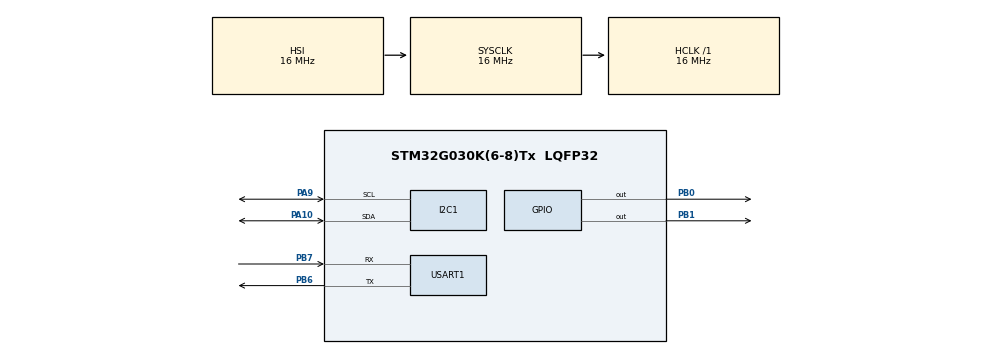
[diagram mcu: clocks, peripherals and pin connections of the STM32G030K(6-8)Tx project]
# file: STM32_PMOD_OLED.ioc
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I2C1.Timing=0x00503D58
Mcu.Family=STM32G0
Mcu.Name=STM32G030K(6-8)Tx
Mcu.Package=LQFP32
PA10.Mode=I2C
PA10.Signal=I2C1_SDA
PA13.Mode=Serial_Wire
PA13.Signal=SYS_SWDIO
PA14-BOOT0.Mode=Serial_Wire
PA14-BOOT0.Signal=SYS_SWCLK
PA9.Mode=I2C
PA9.Signal=I2C1_SCL
PB0.Signal=GPIO_Output
PB1.Signal=GPIO_Output
PB6.Mode=Asynchronous
PB6.Signal=USART1_TX
PB7.Mode=Asynchronous
PB7.Signal=USART1_RX
ProjectManager.HeapSize=0x200
ProjectManager.StackSize=0x400
ProjectManager.TargetToolchain=STM32CubeIDE
RCC.AHBFreq_Value=16000000
RCC.CortexFreq_Value=16000000
RCC.EXTERNAL_CLOCK_VALUE=12288000
RCC.HCLKFreq_Value=16000000
RCC.HSE_VALUE=8000000
RCC.HSI_VALUE=16000000
RCC.LSE_VALUE=32768
RCC.SYSCLKFreq_VALUE=16000000
RCC.VCOOutputFreq_Value=128000000
USART1.VirtualMode-Asynchronous=VM_ASYNC
board=custom

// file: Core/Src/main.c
/* USER CODE BEGIN Header */
/**
  ******************************************************************************
  * @file           : main.c
  * @brief          : Main program body
  ******************************************************************************
  * @attention
  *
  * Copyright (c) 2025 STMicroelectronics.
  * All rights reserved.
  *
  * This software is licensed under terms that can be found in the LICENSE file
  * in the root directory of this software component.
  * If no LICENSE file comes with this software, it is provided AS-IS.
  *
  ******************************************************************************
  */
/* USER CODE END Header */
#include "main.h"

/* USER CODE BEGIN Includes */
#include "ssd1306.h"	// SSD1306 I2C Display Driver
/* USER CODE END Includes */

I2C_HandleTypeDef hi2c1;

UART_HandleTypeDef huart1;

/* USER CODE BEGIN PV */
uint8_t rx_buffer[64];  // UART Byte Buffer
char text_buffer[64];   // Accumulate message
uint8_t idx = 0;
/* USER CODE END PV */

void SystemClock_Config(void);
static void MX_GPIO_Init(void);
static void MX_USART1_UART_Init(void);
static void MX_I2C1_Init(void);

int main(void)
{

  /* MCU Configuration--------------------------------------------------------*/

  /* Reset of all peripherals, Initializes the Flash interface and the Systick. */
  HAL_Init();

  /* Configure the system clock */
  SystemClock_Config();

  /* Initialize all configured peripherals */
  MX_GPIO_Init();
  MX_USART1_UART_Init();
  MX_I2C1_Init();
  /* USER CODE BEGIN 2 */
  HAL_NVIC_SetPriority(USART1_IRQn, 0, 0);
  HAL_NVIC_EnableIRQ(USART1_IRQn);

  HAL_UART_Receive_IT(&huart1, rx_buffer, 1); // Start receiving over interrupt

  ssd1306_init(&hi2c1);
  ssd1306_fill(0x00);  // Clear screen
  ssd1306_draw_string(0, 0, "Starting OLED...");
  ssd1306_update();
  /* USER CODE END 2 */

  /* Infinite loop */
  /* USER CODE BEGIN WHILE */
  while (1)
  {
	  HAL_GPIO_WritePin(GPIOB, GPIO_PIN_1, GPIO_PIN_SET);
	  HAL_Delay(100);
	  HAL_GPIO_WritePin(GPIOB, GPIO_PIN_1, GPIO_PIN_RESET);
	  HAL_Delay(900);
    /* USER CODE END WHILE */

  }
}

void SystemClock_Config(void)
{
  RCC_OscInitTypeDef RCC_OscInitStruct = {0};
  RCC_ClkInitTypeDef RCC_ClkInitStruct = {0};

  /** Configure the main internal regulator output voltage
  */
  HAL_PWREx_ControlVoltageScaling(PWR_REGULATOR_VOLTAGE_SCALE1);

  /** Initializes the RCC Oscillators according to the specified parameters
  * in the RCC_OscInitTypeDef structure.
  */
  RCC_OscInitStruct.OscillatorType = RCC_OSCILLATORTYPE_HSI;
  RCC_OscInitStruct.HSIState = RCC_HSI_ON;
  RCC_OscInitStruct.HSIDiv = RCC_HSI_DIV1;
  RCC_OscInitStruct.HSICalibrationValue = RCC_HSICALIBRATION_DEFAULT;
  RCC_OscInitStruct.PLL.PLLState = RCC_PLL_NONE;
  if (HAL_RCC_OscConfig(&RCC_OscInitStruct) != HAL_OK)
  {
    Error_Handler();
  }

  /** Initializes the CPU, AHB and APB buses clocks
  */
  RCC_ClkInitStruct.ClockType = RCC_CLOCKTYPE_HCLK|RCC_CLOCKTYPE_SYSCLK
                              |RCC_CLOCKTYPE_PCLK1;
  RCC_ClkInitStruct.SYSCLKSource = RCC_SYSCLKSOURCE_HSI;
  RCC_ClkInitStruct.AHBCLKDivider = RCC_SYSCLK_DIV1;
  RCC_ClkInitStruct.APB1CLKDivider = RCC_HCLK_DIV1;

  if (HAL_RCC_ClockConfig(&RCC_ClkInitStruct, FLASH_LATENCY_0) != HAL_OK)
  {
    Error_Handler();
  }
}

static void MX_I2C1_Init(void)
{

  hi2c1.Instance = I2C1;
  hi2c1.Init.Timing = 0x00503D58;
  hi2c1.Init.OwnAddress1 = 0;
  hi2c1.Init.AddressingMode = I2C_ADDRESSINGMODE_7BIT;
  hi2c1.Init.DualAddressMode = I2C_DUALADDRESS_DISABLE;
  hi2c1.Init.OwnAddress2 = 0;
  hi2c1.Init.OwnAddress2Masks = I2C_OA2_NOMASK;
  hi2c1.Init.GeneralCallMode = I2C_GENERALCALL_DISABLE;
  hi2c1.Init.NoStretchMode = I2C_NOSTRETCH_DISABLE;
  if (HAL_I2C_Init(&hi2c1) != HAL_OK)
  {
    Error_Handler();
  }

  /** Configure Analogue filter
  */
  if (HAL_I2CEx_ConfigAnalogFilter(&hi2c1, I2C_ANALOGFILTER_ENABLE) != HAL_OK)
  {
    Error_Handler();
  }

  /** Configure Digital filter
  */
  if (HAL_I2CEx_ConfigDigitalFilter(&hi2c1, 0) != HAL_OK)
  {
    Error_Handler();
  }

}

static void MX_USART1_UART_Init(void)
{

  huart1.Instance = USART1;
  huart1.Init.BaudRate = 115200;
  huart1.Init.WordLength = UART_WORDLENGTH_8B;
  huart1.Init.StopBits = UART_STOPBITS_1;
  huart1.Init.Parity = UART_PARITY_NONE;
  huart1.Init.Mode = UART_MODE_TX_RX;
  huart1.Init.HwFlowCtl = UART_HWCONTROL_NONE;
  huart1.Init.OverSampling = UART_OVERSAMPLING_16;
  huart1.Init.OneBitSampling = UART_ONE_BIT_SAMPLE_DISABLE;
  huart1.Init.ClockPrescaler = UART_PRESCALER_DIV1;
  huart1.AdvancedInit.AdvFeatureInit = UART_ADVFEATURE_NO_INIT;
  if (HAL_UART_Init(&huart1) != HAL_OK)
  {
    Error_Handler();
  }
  if (HAL_UARTEx_SetTxFifoThreshold(&huart1, UART_TXFIFO_THRESHOLD_1_8) != HAL_OK)
  {
    Error_Handler();
  }
  if (HAL_UARTEx_SetRxFifoThreshold(&huart1, UART_RXFIFO_THRESHOLD_1_8) != HAL_OK)
  {
    Error_Handler();
  }
  if (HAL_UARTEx_DisableFifoMode(&huart1) != HAL_OK)
  {
    Error_Handler();
  }

}

static void MX_GPIO_Init(void)
{
  GPIO_InitTypeDef GPIO_InitStruct = {0};

  /* GPIO Ports Clock Enable */
  __HAL_RCC_GPIOB_CLK_ENABLE();
  __HAL_RCC_GPIOA_CLK_ENABLE();

  /*Configure GPIO pin Output Level */
  HAL_GPIO_WritePin(GPIOB, GPIO_PIN_0|GPIO_PIN_1, GPIO_PIN_RESET);

  /*Configure GPIO pins : PB0 PB1 */
  GPIO_InitStruct.Pin = GPIO_PIN_0|GPIO_PIN_1;
  GPIO_InitStruct.Mode = GPIO_MODE_OUTPUT_PP;
  GPIO_InitStruct.Pull = GPIO_NOPULL;
  GPIO_InitStruct.Speed = GPIO_SPEED_FREQ_LOW;
  HAL_GPIO_Init(GPIOB, &GPIO_InitStruct);

}

/* USER CODE BEGIN 4 */
void HAL_UART_RxCpltCallback(UART_HandleTypeDef *huart)
{
    if (huart->Instance == USART1) {
        // Blink LED
    	HAL_GPIO_TogglePin(GPIOB, GPIO_PIN_0);
        // Display Text
    	char received = rx_buffer[0];
    	 // Append received char to message
		if (received == '\r' || received == '\n') {
			if(idx > 0) {
				text_buffer[idx] = '\0';   								// terminate string

				ssd1306_fill(0x00);
				ssd1306_draw_string(0, 0, text_buffer);
				ssd1306_update();

				idx = 0;											// reset counter
			}
		} else if (idx < sizeof(text_buffer) - 1) {
			text_buffer[idx++] = received;
		}

        HAL_UART_Receive_IT(&huart1, rx_buffer, 1); 				// Restart RX
    }
}
/* USER CODE END 4 */

void Error_Handler(void)
{
  __disable_irq();
  while (1)
  {
  }
}
